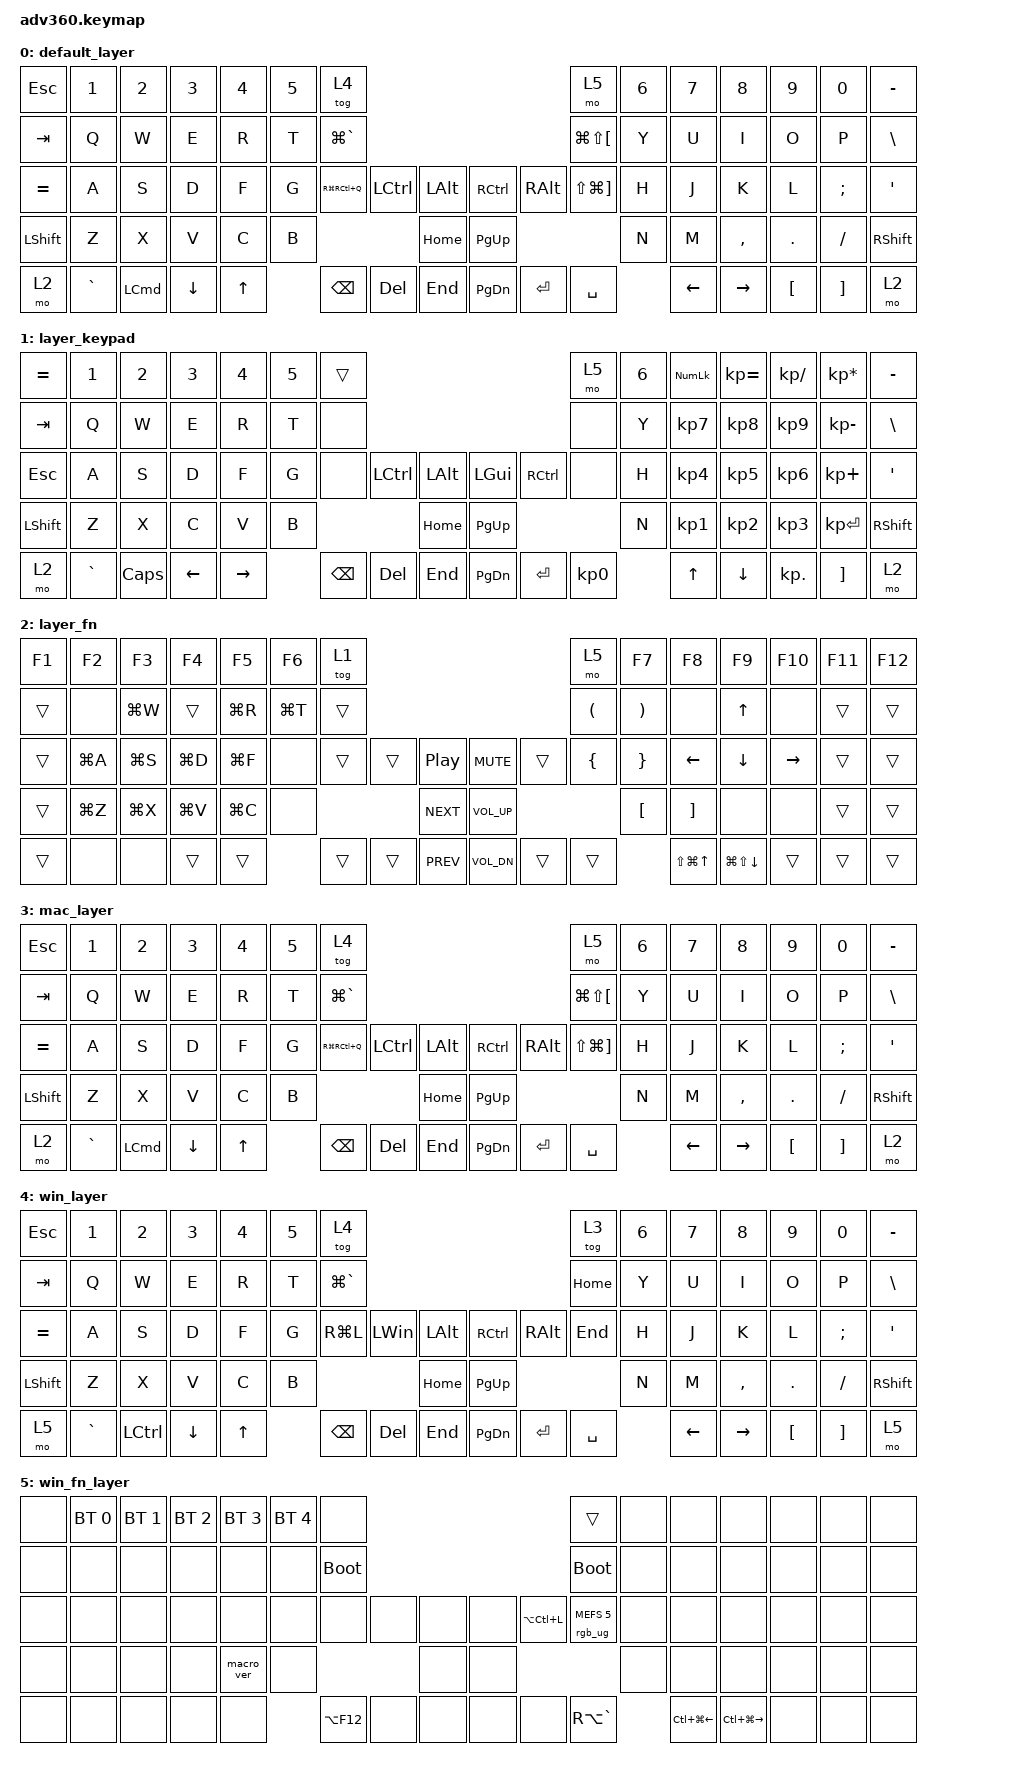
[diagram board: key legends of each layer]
/*
 * Copyright (c) 2020 The ZMK Contributors
 *
 * SPDX-License-Identifier: MIT
 */
/* THIS FILE WAS GENERATED!
 *
 * This file was generated automatically. You may or may not want to
 * edit it directly.
 */

#include <behaviors.dtsi>
#include <dt-bindings/zmk/bt.h>
#include <dt-bindings/zmk/keys.h>
#include <dt-bindings/zmk/rgb.h>

/ {
    behaviors {
        #include "macros.dtsi"
    #include "version.dtsi"

        hm: homerow_mods {
            compatible = "zmk,behavior-hold-tap";
            label = "HOMEROW_MODS";
            #binding-cells = <2>;
            tapping-term-ms = <200>;
            quick_tap_ms = <175>;
            flavor = "tap-preferred";
            bindings = <&kp>, <&kp>;
        };
    };

    combos { compatible = "zmk,combos"; };

    keymap {
        compatible = "zmk,keymap";

        default_layer {
            bindings = <
&kp ESC    &kp N1     &kp N2            &kp N3          &kp N4        &kp N5  &tog 4                                                                           &mo 5                      &kp N6  &kp N7          &kp N8           &kp N9    &kp N0     &kp MINUS
&kp TAB    &kp Q      &kp W             &kp E           &kp R         &kp T   &kp LG(GRAVE)                                                                    &kp LG(LS(LEFT_BRACKET))   &kp Y   &kp U           &kp I            &kp O     &kp P      &kp BSLH
&kp EQUAL  &kp A      &kp S             &kp D           &kp F         &kp G   &kp RG(RC(Q))  &kp LEFT_CONTROL  &kp LEFT_ALT      &kp RCTRL      &kp RIGHT_ALT  &kp LS(LG(RIGHT_BRACKET))  &kp H   &kp J           &kp K            &kp L     &kp SEMI   &kp SQT
&kp LSHFT  &kp Z      &kp X             &kp V           &kp C         &kp B                                    &kp HOME          &kp PG_UP                                                &kp N   &kp M           &kp COMMA        &kp DOT   &kp SLASH  &kp RIGHT_SHIFT
&mo 2      &kp GRAVE  &kp LEFT_COMMAND  &kp DOWN_ARROW  &kp UP_ARROW          &kp BACKSPACE  &kp DEL           &kp END           &kp PAGE_DOWN  &kp ENTER      &kp SPACE                          &kp LEFT_ARROW  &kp RIGHT_ARROW  &kp LBKT  &kp RBKT   &mo 2
            >;
        };

        layer_keypad {
            bindings = <
&kp EQUAL  &kp N1     &kp N2    &kp N3    &kp N4     &kp N5  &trans                                                   &mo 5      &kp N6  &kp KP_NUM  &kp KP_EQUAL  &kp KP_DIVIDE  &kp KP_MULTIPLY  &kp MINUS
&kp TAB    &kp Q      &kp W     &kp E     &kp R      &kp T   &none                                                    &none      &kp Y   &kp KP_N7   &kp KP_N8     &kp KP_N9      &kp KP_MINUS     &kp BSLH
&kp ESC    &kp A      &kp S     &kp D     &kp F      &kp G   &none     &kp LCTRL  &kp LALT      &kp LGUI   &kp RCTRL  &none      &kp H   &kp KP_N4   &kp KP_N5     &kp KP_N6      &kp KP_PLUS      &kp SQT
&kp LSHFT  &kp Z      &kp X     &kp C     &kp V      &kp B                        &kp HOME      &kp PG_UP                        &kp N   &kp KP_N1   &kp KP_N2     &kp KP_N3      &kp KP_ENTER     &kp RSHFT
&mo 2      &kp GRAVE  &kp CAPS  &kp LEFT  &kp RIGHT          &kp BSPC  &kp DEL    &kp END       &kp PG_DN  &kp ENTER  &kp KP_N0          &kp UP      &kp DOWN      &kp KP_DOT     &kp RBKT         &mo 2
            >;
        };

        layer_fn {
            bindings = <
&kp F1  &kp F2     &kp F3     &kp F4     &kp F5     &kp F6     &tog 1                                                      &mo 5                 &kp F7            &kp F8                &kp F9                  &kp F10    &kp F11  &kp F12
&trans  &none      &kp LG(W)  &trans     &kp LG(R)  &kp LG(T)  &trans                                                      &kp LEFT_PARENTHESIS  &kp RPAR          &none                 &kp UP_ARROW            &none      &trans   &trans
&trans  &kp LG(A)  &kp LG(S)  &kp LG(D)  &kp LG(F)  &none      &trans  &trans  &kp C_PLAY_PAUSE      &kp C_MUTE    &trans  &kp LEFT_BRACE        &kp RBRC          &kp LEFT              &kp DOWN_ARROW          &kp RIGHT  &trans   &trans
&trans  &kp LG(Z)  &kp LG(X)  &kp LG(V)  &kp LG(C)  &none                      &kp C_NEXT            &kp C_VOL_UP                                &kp LEFT_BRACKET  &kp RIGHT_BRACKET     &none                   &none      &trans   &trans
&trans  &none      &none      &trans     &trans                &trans  &trans  &kp C_PREV            &kp C_VOL_DN  &trans  &trans                                  &kp LS(LG(UP_ARROW))  &kp LG(LS(DOWN_ARROW))  &trans     &trans   &trans
            >;
        };

        mac_layer {
            bindings = <
&kp ESC    &kp N1     &kp N2            &kp N3          &kp N4        &kp N5  &tog 4                                                                           &mo 5                      &kp N6  &kp N7          &kp N8           &kp N9    &kp N0     &kp MINUS
&kp TAB    &kp Q      &kp W             &kp E           &kp R         &kp T   &kp LG(GRAVE)                                                                    &kp LG(LS(LEFT_BRACKET))   &kp Y   &kp U           &kp I            &kp O     &kp P      &kp BSLH
&kp EQUAL  &kp A      &kp S             &kp D           &kp F         &kp G   &kp RG(RC(Q))  &kp LEFT_CONTROL  &kp LEFT_ALT      &kp RCTRL      &kp RIGHT_ALT  &kp LS(LG(RIGHT_BRACKET))  &kp H   &kp J           &kp K            &kp L     &kp SEMI   &kp SQT
&kp LSHFT  &kp Z      &kp X             &kp V           &kp C         &kp B                                    &kp HOME          &kp PG_UP                                                &kp N   &kp M           &kp COMMA        &kp DOT   &kp SLASH  &kp RIGHT_SHIFT
&mo 2      &kp GRAVE  &kp LEFT_COMMAND  &kp DOWN_ARROW  &kp UP_ARROW          &kp BACKSPACE  &kp DEL           &kp END           &kp PAGE_DOWN  &kp ENTER      &kp SPACE                          &kp LEFT_ARROW  &kp RIGHT_ARROW  &kp LBKT  &kp RBKT   &mo 2
            >;
        };

        win_layer {
            bindings = <
&kp ESC    &kp N1     &kp N2     &kp N3          &kp N4        &kp N5  &tog 4                                                                       &tog 3     &kp N6  &kp N7          &kp N8           &kp N9    &kp N0     &kp MINUS
&kp TAB    &kp Q      &kp W      &kp E           &kp R         &kp T   &kp LG(GRAVE)                                                                &kp HOME   &kp Y   &kp U           &kp I            &kp O     &kp P      &kp BSLH
&kp EQUAL  &kp A      &kp S      &kp D           &kp F         &kp G   &kp RG(L)      &kp LEFT_WIN  &kp LEFT_ALT      &kp RCTRL      &kp RIGHT_ALT  &kp END    &kp H   &kp J           &kp K            &kp L     &kp SEMI   &kp SQT
&kp LSHFT  &kp Z      &kp X      &kp V           &kp C         &kp B                                &kp HOME          &kp PG_UP                                &kp N   &kp M           &kp COMMA        &kp DOT   &kp SLASH  &kp RIGHT_SHIFT
&mo 5      &kp GRAVE  &kp LCTRL  &kp DOWN_ARROW  &kp UP_ARROW          &kp BACKSPACE  &kp DEL       &kp END           &kp PAGE_DOWN  &kp ENTER      &kp SPACE          &kp LEFT_ARROW  &kp RIGHT_ARROW  &kp LBKT  &kp RBKT   &mo 5
            >;
        };

        win_fn_layer {
            bindings = <
&none  &bt BT_SEL 0  &bt BT_SEL 1  &bt BT_SEL 2  &bt BT_SEL 3  &bt BT_SEL 4  &none                                                &trans                  &none  &none                   &none                    &none  &none  &none
&none  &none         &none         &none         &none         &none         &bootloader                                          &bootloader             &none  &none                   &none                    &none  &none  &none
&none  &none         &none         &none         &none         &none         &none        &none  &none      &none  &kp LA(LC(L))  &rgb_ug RGB_MEFS_CMD 5  &none  &none                   &none                    &none  &none  &none
&none  &none         &none         &none         &macro_ver    &none                             &none      &none                                         &none  &none                   &none                    &none  &none  &none
&none  &none         &none         &none         &none                       &kp LA(F12)  &none  &none      &none  &none          &kp RA(GRAVE)                  &kp LC(LG(LEFT_ARROW))  &kp LC(LG(RIGHT_ARROW))  &none  &none  &none
            >;
        };
    };
};
